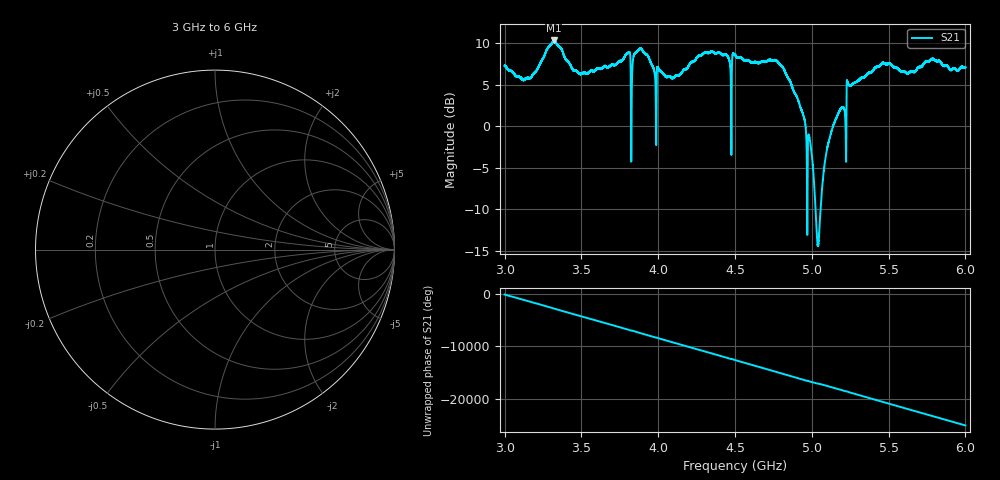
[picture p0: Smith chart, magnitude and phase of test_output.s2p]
!Keysight Technologies,P5003A,MY58100335,A.14.10.03
!Date: Thursday, June 04, 2026 18:41:35
!Correction: S11(Off)
!S21(Off)
!S12(Off)
!S22(Off)
!S2P File: Measurement: :
# Hz S  dB  R 50
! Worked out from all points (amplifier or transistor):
!   50001 points, 3 GHz to 6 GHz, reference 50 ohm
!   highest |S21| = 10.3 dB at 3.32 GHz (marker M1)
!   |S21| within 3 dB of that: 4.48 GHz to 4.797 GHz (316.5 MHz wide, 6.82 % of centre) (the widest 1 of 163)
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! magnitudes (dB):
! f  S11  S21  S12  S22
! 3 GHz  -  7.3  -  -
! 3.164 GHz  -  5.7  -  -
! 3.32 GHz  -  10.3  -  -
! 3.5 GHz  -  6.3  -  -
! 3.802 GHz  -  8.8  -  -
! 3.833 GHz  -  7.3  -  -
! 3.884 GHz  -  9.3  -  -
! 4 GHz  -  7.0  -  -
! 4.346 GHz  -  9.0  -  -
! 4.447 GHz  -  8.5  -  -
! 4.468 GHz  -  7.3  -  -
! 4.5 GHz  -  8.5  -  -
! 4.808 GHz  -  7.2  -  -
! 4.939 GHz  -  1.6  -  -
! 5 GHz  -  -3.5  -  -
! 5.042 GHz  -  -14.4  -  -
! 5.102 GHz  -  -2.5  -  -
! 5.179 GHz  -  1.8  -  -
! 5.211 GHz  -  2.1  -  -
! 5.241 GHz  -  4.9  -  -
! 5.5 GHz  -  7.5  -  -
! 6 GHz  -  7.0  -  -
